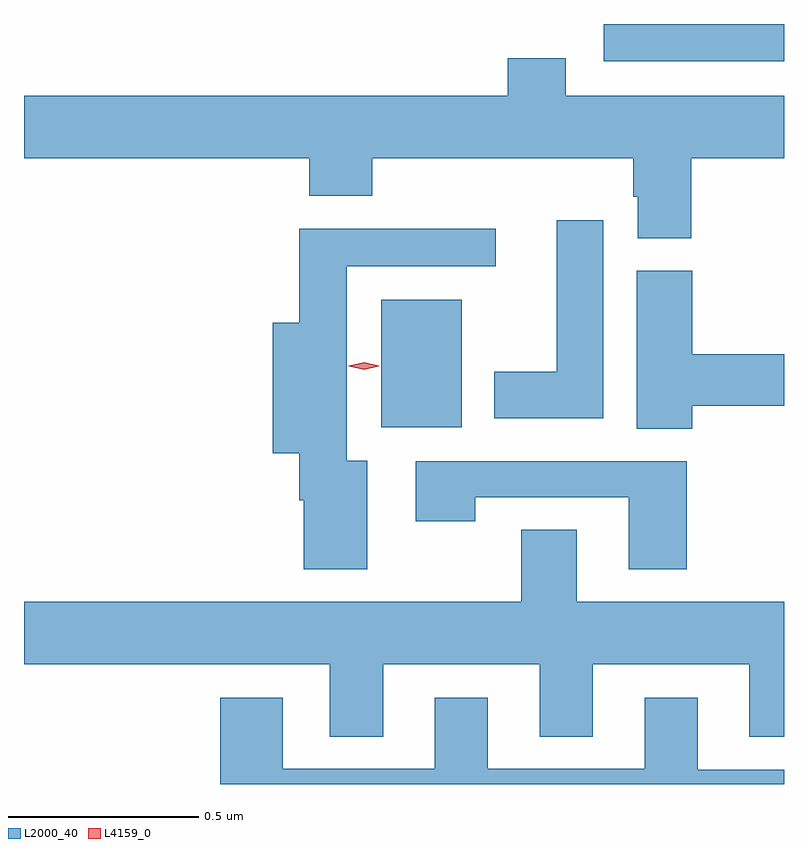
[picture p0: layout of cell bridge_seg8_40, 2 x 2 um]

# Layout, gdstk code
import gdstk
lib = gdstk.Library(unit=1e-6, precision=1e-09)
def R(c, l, rs):  # rectangles x0, y0, x1, y1
    for r in rs: c.add(gdstk.rectangle(r[:2], r[2:], *l))
def P(c, l, *ps):  # polygons
    for p in ps: c.add(gdstk.Polygon(p, *l))
L2000_40 = (2000, 40)
L4159_0 = (4159, 0)

bridge_seg8_40 = lib.new_cell('bridge_seg8_40')
R(bridge_seg8_40, L2000_40, [(1070.438,1155.752,1070.65,1156.087)])
P(bridge_seg8_40, L2000_40, [(1071.498,1156.813),(1070.463,1156.813),(1070.463,1156.812),(1071.024,1156.812),(1071.024,1156.715),(1071.498,1156.715)],
  [(1071.254,1156.46),(1071.498,1156.46),(1071.498,1156.624),(1070.923,1156.624),(1070.923,1156.723),(1070.771,1156.723),(1070.771,1156.624),(1069.498,1156.624),(1069.498,1156.46),(1070.249,1156.46),(1070.249,1156.361),(1070.414,1156.361),(1070.414,1156.46),(1071.101,1156.46),(1071.101,1156.359),(1071.113,1156.359),(1071.113,1156.249),(1071.254,1156.249)],
  [(1071.022,1156.297),(1070.9,1156.297),(1070.9,1155.898),(1070.735,1155.898),(1070.735,1155.776),(1071.022,1155.776)],
  [(1070.401,1155.664),(1070.347,1155.664),(1070.347,1156.176),(1070.74,1156.176),(1070.74,1156.274),(1070.222,1156.274),(1070.222,1156.027),(1070.153,1156.027),(1070.153,1155.683),(1070.222,1155.683),(1070.222,1155.56),(1070.234,1155.56),(1070.234,1155.378),(1070.401,1155.378)],
  [(1071.257,1155.808),(1071.498,1155.808),(1071.498,1155.944),(1071.257,1155.944),(1071.257,1156.164),(1071.11,1156.164),(1071.11,1155.748),(1071.257,1155.748)],
  [(1071.242,1155.663),(1070.529,1155.663),(1070.529,1155.504),(1070.685,1155.504),(1070.685,1155.567),(1071.089,1155.567),(1071.089,1155.378),(1071.242,1155.378)],
  [(1070.443,1155.128),(1070.855,1155.128),(1070.855,1154.938),(1070.995,1154.938),(1070.995,1155.128),(1071.407,1155.128),(1071.407,1154.938),(1071.498,1154.938),(1071.498,1155.292),(1070.953,1155.292),(1070.953,1155.482),(1070.806,1155.482),(1070.806,1155.292),(1069.498,1155.292),(1069.498,1155.128),(1070.303,1155.128),(1070.303,1154.938),(1070.443,1154.938)],
  [(1071.498,1154.85),(1071.271,1154.85),(1071.271,1155.04),(1071.131,1155.04),(1071.131,1154.853),(1070.719,1154.853),(1070.719,1155.04),(1070.579,1155.04),(1070.579,1154.853),(1070.179,1154.853),(1070.179,1155.04),(1070.015,1155.04),(1070.015,1154.813),(1071.498,1154.813)])
P(bridge_seg8_40, L4159_0, [(1070.393,1155.903),(1070.353,1155.913),(1070.352,1155.913),(1070.353,1155.914),(1070.393,1155.923),(1070.432,1155.914),(1070.433,1155.913),(1070.432,1155.913)])

lib.write_gds('bridge_seg8_40.gds')
